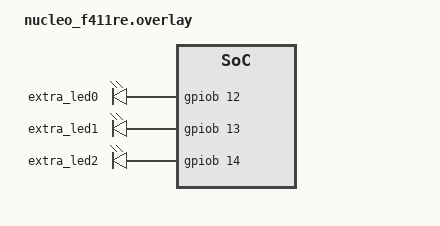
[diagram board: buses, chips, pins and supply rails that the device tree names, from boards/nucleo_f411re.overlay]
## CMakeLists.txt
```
cmake_minimum_required(VERSION 3.13.1)
find_package(Zephyr REQUIRED HINTS $ENV{ZEPHYR_BASE})
project(app)

# Pure C application - no Rust
target_sources(app PRIVATE
  src/main.c
  src/adc.c
  src/outputs.c
  src/uart_comm.c
  src/gpio_irq.c
)
```

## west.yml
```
manifest:
  remotes:
    - name: zephyrproject
      url-base: https://github.com/zephyrproject-rtos
  projects:
    - name: zephyr
      remote: zephyrproject
      revision: main
      import: true
  self:
    path: app
```

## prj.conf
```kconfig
# Minimal Zephyr configuration
CONFIG_SYS_CLOCK_TICKS_PER_SEC=100

# GPIO support
CONFIG_GPIO=y

# UART and console
CONFIG_SERIAL=y
CONFIG_UART_CONSOLE=y
CONFIG_CONSOLE=y
CONFIG_PRINTK=y

# UART device drivers for STM32
CONFIG_UART_STM32=y

# UART settings
CONFIG_UART_INTERRUPT_DRIVEN=y

# Ring buffer for UART RX
CONFIG_RING_BUFFER=y

# Pinctrl for UART pin assignment
CONFIG_PINCTRL=y
CONFIG_PINCTRL_STM32=y

# ADC support disabled: Renode stm32f4 model has no ADC peripheral,
# causing a bus fault if the ADC driver initialises.
# CONFIG_ADC=y
```

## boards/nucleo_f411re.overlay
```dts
/*
 * Zephyr DTS overlay for STM32F411RE-Nucleo (nucleo_f411re)
 *
 * Pin assignment:
 *   LD2   : PA5  (led0, GPIO_ACTIVE_HIGH)   — defined in base DTS
 *   B1    : PC13 (sw0,  GPIO_ACTIVE_LOW)    — defined in base DTS
 *   USART2: PA2/PA3  → zephyr,console       — defined in base DTS
 *   USART1: PB6/PB7  → inter-board UART hub — defined in base DTS (status okay)
 *
 * Extra GPIO outputs on Morpho connector (CN7):
 *   led1 = PB12, led2 = PB13, led3 = PB14
 *   Driven by main loop in rotating chase pattern to show GPIO activity.
 */

/ {
	extra_leds {
		compatible = "gpio-leds";
		extra_led0: extra_led0 { gpios = <&gpiob 12 GPIO_ACTIVE_HIGH>; };
		extra_led1: extra_led1 { gpios = <&gpiob 13 GPIO_ACTIVE_HIGH>; };
		extra_led2: extra_led2 { gpios = <&gpiob 14 GPIO_ACTIVE_HIGH>; };
	};
	aliases {
		led1 = &extra_led0;
		led2 = &extra_led1;
		led3 = &extra_led2;
	};
};
```

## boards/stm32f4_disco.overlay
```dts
/ {
	chosen {
		/* Debug console on USART3 (PB10=TX, PB11=RX), separate from UART Hub */
		zephyr,console = &usart3;
		zephyr,shell-uart = &usart3;
	};
};

/* USART2: inter-board communication via Renode UART Hub (PA2=TX, PA3=RX) */
&usart2 {
	status = "okay";
	current-speed = <115200>;
};

/* USART3: debug console / printk output (PB10=TX, PB11=RX) */
&usart3 {
	status = "okay";
	current-speed = <115200>;
	pinctrl-0 = <&usart3_tx_pb10 &usart3_rx_pb11>;
	pinctrl-names = "default";
};

/* Mode indicator LEDs on PB12/PB13/PB14 */
/ {
	mode_leds {
		compatible = "gpio-leds";
		mode_led0: mode_led0 { gpios = <&gpiob 12 GPIO_ACTIVE_HIGH>; };
		mode_led1: mode_led1 { gpios = <&gpiob 13 GPIO_ACTIVE_HIGH>; };
		mode_led2: mode_led2 { gpios = <&gpiob 14 GPIO_ACTIVE_HIGH>; };
	};
	aliases {
		mode-led0 = &mode_led0;
		mode-led1 = &mode_led1;
		mode-led2 = &mode_led2;
	};
};
```

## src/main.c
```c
#include <zephyr/kernel.h>
#include <zephyr/sys/printk.h>
#include <string.h>
#include <stdbool.h>

#include "adc.h"
#include "outputs.h"
#include "uart_comm.h"
#include "gpio_irq.h"

static uint32_t tick = 0;
static uint32_t step = 0;
static bool     led0_state = false;
static bool     button_pressed_prev = false;
static char     uart_cmd_buf[64];
static size_t   uart_cmd_len = 0;

int main(void)
{
    /* Small delay to allow UART backend/tester to connect before printing init messages */
    k_msleep(2000);
    printk("Zephyr C Application Started\n");

    if (app_led_init() != 0) {
        printk("LED init failed\n");
    }

    int output_count = app_outputs_init();
    printk("Outputs initialized: %d\n", output_count);

    if (app_button_init() != 0) {
        printk("Button init failed\n");
    }

    if (app_uart_init() != 0) {
        printk("UART init failed - inter-board communication unavailable\n");
    }

    app_adc_init();

    printk("Application ready, entering main loop\n");

    while (1) {
        bool button_pressed = app_button_read() != 0;
        bool rising_edge    = button_pressed && !button_pressed_prev;
        button_pressed_prev = button_pressed;

        /* B1 press: send TOGGLE_1 to the other board via inter-board UART. */
        if (rising_edge) {
            if (app_uart_send("TOGGLE_1\n", 9) >= 0) {
                printk("[B1] Sending TOGGLE_1 on USART1\n");
            }
        }

        tick++;

        /* Rotating chase: one bit cycling through led1/led2/led3 (outputs[1..3]) */
        uint32_t ticks_per_step = (blink_interval_ms / 20) + 1;
        if (tick % ticks_per_step == 0) {
            write_pattern(1u << (step % 3));
            step++;
        }

        /* Process incoming UART messages */
        uint8_t rxbuf[128];
        int rxlen = app_uart_recv(rxbuf, sizeof(rxbuf));
        for (int i = 0; i < rxlen; i++) {
            char ch = (char)rxbuf[i];
            if (ch == '\r' || ch == '\n') {
                uart_cmd_buf[uart_cmd_len] = '\0';
                if (uart_cmd_len > 0 && strcmp(uart_cmd_buf, "TOGGLE_1") == 0) {
                    led0_state = !led0_state;
                    app_output_write(0, led0_state ? 1 : 0);
                    printk("TOGGLE_1 received - led0 %s\n", led0_state ? "ON" : "OFF");
                }
                uart_cmd_len = 0;
                continue;
            }
            if (uart_cmd_len < sizeof(uart_cmd_buf) - 1) {
                uart_cmd_buf[uart_cmd_len++] = ch;
            } else {
                uart_cmd_len = 0;
            }
        }

        k_msleep(10);
    }

    return 0;
}
```

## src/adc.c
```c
#include "adc.h"
#include <zephyr/kernel.h>
#include <zephyr/sys/printk.h>

volatile uint32_t blink_interval_ms = 150;

#define ADC_THREAD_STACK_SIZE 512
#define ADC_THREAD_PRIORITY   5

static K_THREAD_STACK_DEFINE(adc_thread_stack, ADC_THREAD_STACK_SIZE);
static struct k_thread adc_thread_data;

static void adc_thread_fn(void *arg1, void *arg2, void *arg3)
{
    ARG_UNUSED(arg1); ARG_UNUSED(arg2); ARG_UNUSED(arg3);
    uint32_t prev_blink = UINT32_MAX; /* force print on first iteration */
    while (1) {
        uint32_t current = blink_interval_ms;
        if (current != prev_blink) {
            printk("ADC: blink=%dms\n", current);
            prev_blink = current;
        }
        k_msleep(200);
    }
}

int app_adc_init(void)
{
    k_thread_create(&adc_thread_data, adc_thread_stack,
                    K_THREAD_STACK_SIZEOF(adc_thread_stack),
                    adc_thread_fn, NULL, NULL, NULL,
                    ADC_THREAD_PRIORITY, 0, K_MSEC(500));
    k_thread_name_set(&adc_thread_data, "adc_reader");
    return 0;
}
```

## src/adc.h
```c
#pragma once
#include <stdint.h>

/* blink_interval_ms is written by the simulation backend via memory map */
extern volatile uint32_t blink_interval_ms;

int app_adc_init(void);
```

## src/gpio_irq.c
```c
#include "gpio_irq.h"
#include "uart_comm.h"
#include <zephyr/kernel.h>
#include <zephyr/drivers/gpio.h>
#include <zephyr/sys/printk.h>

#define IRQ_GPIO_PORT DT_NODELABEL(gpiob)
#define IRQ_GPIO_PIN  5

static struct gpio_callback gpio_irq_cb;
static const struct device *irq_gpio_dev = NULL;

static void gpio_irq_callback(const struct device *dev, struct gpio_callback *cb, uint32_t pins)
{
    ARG_UNUSED(dev);
    ARG_UNUSED(cb);
    printk("[PB5 IRQ] Interrupt triggered on pins: 0x%x\n", pins);
    if (app_uart_send("TOGGLE_1\n", 9) < 0) {
        printk("[PB5 IRQ] ERROR: UART not ready - cannot send\n");
    } else {
        printk("[PB5 IRQ] Sending TOGGLE_1 command\n");
    }
}

int app_gpio_irq_init(void)
{
    irq_gpio_dev = DEVICE_DT_GET(IRQ_GPIO_PORT);
    if (irq_gpio_dev == NULL || !device_is_ready(irq_gpio_dev)) {
        printk("IRQ GPIO device (GPIOB) not ready\n");
        return -1;
    }

    gpio_pin_configure(irq_gpio_dev, IRQ_GPIO_PIN, GPIO_INPUT | GPIO_PULL_DOWN);
    gpio_init_callback(&gpio_irq_cb, gpio_irq_callback, BIT(IRQ_GPIO_PIN));
    gpio_add_callback(irq_gpio_dev, &gpio_irq_cb);
    gpio_pin_interrupt_configure(irq_gpio_dev, IRQ_GPIO_PIN, GPIO_INT_EDGE_TO_ACTIVE);

    printk("GPIO IRQ initialized on PB%d\n", IRQ_GPIO_PIN);
    return 0;
}
```

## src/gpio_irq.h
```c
#pragma once

int app_gpio_irq_init(void);
```

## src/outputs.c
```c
#include "outputs.h"
#include <zephyr/kernel.h>
#include <zephyr/device.h>
#include <zephyr/drivers/gpio.h>

/* Nucleo F411RE:
 *   led0 = LD2 (PA5) — toggled by received TOGGLE_1 command
 *   led1..3 = PB12/PB13/PB14 (Morpho CN7) — driven by main loop chase pattern
 */
static const struct gpio_dt_spec led  = GPIO_DT_SPEC_GET(DT_ALIAS(led0), gpios);
static const struct gpio_dt_spec led1 = GPIO_DT_SPEC_GET_OR(DT_ALIAS(led1), gpios, {0});
static const struct gpio_dt_spec led2 = GPIO_DT_SPEC_GET_OR(DT_ALIAS(led2), gpios, {0});
static const struct gpio_dt_spec led3 = GPIO_DT_SPEC_GET_OR(DT_ALIAS(led3), gpios, {0});

static const struct gpio_dt_spec button = GPIO_DT_SPEC_GET(DT_ALIAS(sw0), gpios);

static const struct gpio_dt_spec *const outputs[] = {
    &led,   /* index 0: LD2/PA5 — TOGGLE_1 indicator */
    &led1,  /* index 1: PB12 */
    &led2,  /* index 2: PB13 */
    &led3,  /* index 3: PB14 */
};

/* ── LED ── */

int app_led_init(void)
{
    if (!gpio_is_ready_dt(&led)) {
        return -1;
    }
    return gpio_pin_configure_dt(&led, GPIO_OUTPUT_INACTIVE);
}

void app_led_toggle(void)
{
    gpio_pin_toggle_dt(&led);
}

/* ── Outputs ── */

int app_outputs_init(void)
{
    int configured = 0;
    for (size_t i = 0; i < ARRAY_SIZE(outputs); i++) {
        const struct gpio_dt_spec *spec = outputs[i];
        if (spec->port == NULL) continue;
        if (!gpio_is_ready_dt(spec)) continue;
        if (gpio_pin_configure_dt(spec, GPIO_OUTPUT_INACTIVE) == 0) {
            configured++;
        }
    }
    return configured;
}

int app_output_write(uint32_t index, uint32_t value)
{
    if (index >= ARRAY_SIZE(outputs)) return -1;
    const struct gpio_dt_spec *spec = outputs[index];
    if (spec->port == NULL || !gpio_is_ready_dt(spec)) return -2;
    return gpio_pin_set_dt(spec, value ? 1 : 0);
}

void clear_outputs(void)
{
    for (uint32_t i = 0; i < ARRAY_SIZE(outputs); i++) {
        app_output_write(i, 0);
    }
}

void write_pattern(uint8_t pattern)
{
    /* outputs[0] = LD2 reserved for TOGGLE_1 rx; drive led1..3 with 3-bit pattern */
    for (uint32_t i = 1; i < ARRAY_SIZE(outputs); i++) {
        app_output_write(i, (pattern >> (i - 1)) & 0x1);
    }
}

/* ── Button ── */

int app_button_init(void)
{
    if (!gpio_is_ready_dt(&button)) {
        return -1;
    }
    return gpio_pin_configure_dt(&button, GPIO_INPUT);
}

int app_button_read(void)
{
    return gpio_pin_get_dt(&button);
}
```

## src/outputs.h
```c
#pragma once
#include <stdint.h>

int app_led_init(void);
void app_led_toggle(void);

int app_outputs_init(void);
int app_output_write(uint32_t index, uint32_t value);
void clear_outputs(void);
void write_pattern(uint8_t pattern);

int app_button_init(void);
int app_button_read(void);
```

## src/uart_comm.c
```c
#include "uart_comm.h"
#include <zephyr/kernel.h>
#include <zephyr/drivers/uart.h>
#include <zephyr/sys/ring_buffer.h>
#include <zephyr/sys/printk.h>

#define UART_RX_RING_BUF_SIZE 512
RING_BUF_DECLARE(uart_rx_ring_buf, UART_RX_RING_BUF_SIZE);

static const struct device *uart_inter_board = NULL;

static void uart_irq_handler(const struct device *dev, void *user_data)
{
    ARG_UNUSED(user_data);
    while (uart_irq_update(dev) && uart_irq_rx_ready(dev)) {
        uint8_t byte;
        int ret = uart_fifo_read(dev, &byte, 1);
        if (ret > 0) {
            ring_buf_put(&uart_rx_ring_buf, &byte, 1);
        }
    }
}

int app_uart_init(void)
{
    printk("Attempting to get USART1 device...\n");
    uart_inter_board = DEVICE_DT_GET(DT_NODELABEL(usart1));

    if (uart_inter_board == NULL) {
        printk("ERROR: USART1 device NULL (DT node not found)\n");
        return -1;
    }
    if (!device_is_ready(uart_inter_board)) {
        printk("ERROR: USART1 device not ready\n");
        uart_inter_board = NULL;
        return -1;
    }

    uart_irq_callback_set(uart_inter_board, uart_irq_handler);
    uart_irq_rx_enable(uart_inter_board);

    printk("SUCCESS: Inter-board UART initialized (USART1 @ 115200, IRQ RX)\n");
    return 0;
}

int app_uart_send(const char *buf, size_t len)
{
    if (uart_inter_board == NULL) return -1;
    for (size_t i = 0; i < len; i++) {
        uart_poll_out(uart_inter_board, buf[i]);
    }
    return (int)len;
}

int app_uart_recv(uint8_t *buf, size_t len)
{
    if (uart_inter_board == NULL) return -1;
    return (int)ring_buf_get(&uart_rx_ring_buf, buf, (uint32_t)len);
}
```

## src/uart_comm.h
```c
#pragma once
#include <stdint.h>
#include <stddef.h>

int app_uart_init(void);
int app_uart_send(const char *buf, size_t len);
int app_uart_recv(uint8_t *buf, size_t len);
```
